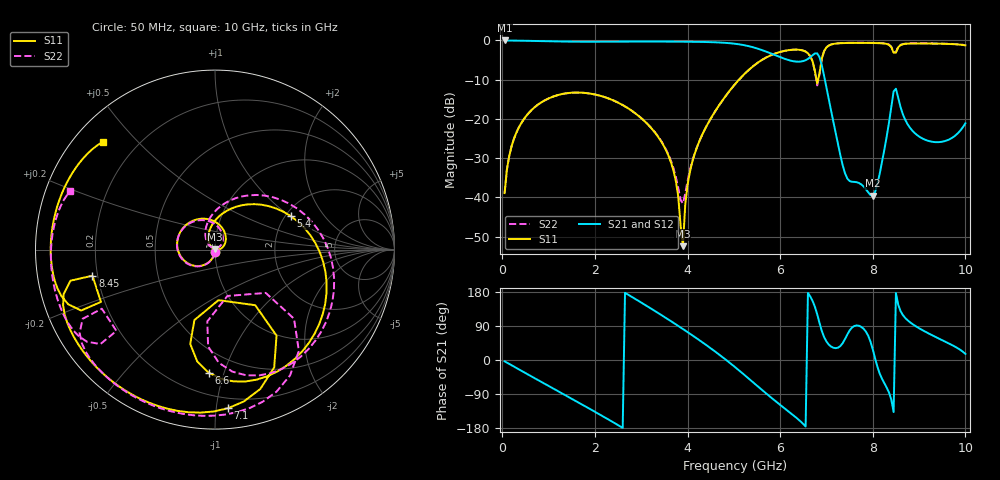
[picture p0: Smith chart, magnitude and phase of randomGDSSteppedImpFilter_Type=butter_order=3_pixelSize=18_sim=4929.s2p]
! freq	dB(S11)	phase(S11)	dB(S12)	phase(S12)
!  dB(S21)	phase(S21)	dB(S22)	phase(S22)
!S-par simulation data
#  GHz  S  DB  R 50
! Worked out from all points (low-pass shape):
!   200 points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, 50 MHz to 10 GHz, reference 50 ohm
!   highest |S21| = 0.00 dB at 50 MHz (marker M1); lowest = -39.6 dB at 8 GHz (marker M2)
!   |S21| within 3 dB of the highest: start of sweep to 5.732 GHz
!   lowest |S11| = -52.4 dB at 3.9 GHz (marker M3), VSWR 1.00, Z = 49.9 + j0.227 ohm
!   |S11| at or under -10 dB: start of sweep to 5.111 GHz; 6.784734 GHz to 6.818649 GHz (33.92 MHz wide, 0.499 % of centre)
!   |S22| runs from -41.5 to -0.6 dB; largest |S21 - S12| = 0
!   S11 on the Smith chart (normalised r, x): 50 MHz: 1.00, -0.02; 5.4 GHz: 2.13, +1.01; 6.6 GHz: 0.34, -0.89; 7.1 GHz: 0.13, -1.08; 8.45 GHz: 0.18, -0.10; 10 GHz: 0.08, +0.40
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0.05  -38.90 -93.3  -0.00 -3.5  -0.00 -3.5  -38.85 -93.7
0.5  -19.49 -125.9  -0.09 -34.5  -0.09 -34.5  -19.51 -125.1
1.75  -13.34 147.8  -0.33 -119.4  -0.33 -119.4  -13.34 151.9
2.6  -16.46 86.6  -0.30 -179.0  -0.30 -179.0  -16.46 95.3
3.4  -25.16 24.6  -0.28 121.3  -0.28 121.3  -25.06 43.7
3.75  -35.98 -1.3  -0.30 93.9  -0.30 93.9  -34.92 35.9
3.9  -52.42 108.4  -0.32 81.9  -0.32 81.9  -41.52 97.1
4  -36.86 148.4  -0.33 73.7  -0.33 73.7  -35.86 139.3
4.15  -29.06 138.5  -0.35 61.2  -0.35 61.2  -28.95 144.3
5.05  -10.81 58.9  -0.88 -21.2  -0.88 -21.2  -10.82 72.7
5.4  -6.72 23.9  -1.69 -57.2  -1.69 -57.2  -6.72 36.9
6  -2.93 -35.5  -4.26 -118.4  -4.26 -118.4  -2.92 -23.7
6.6  -3.27 -93.0  -4.71 176.9  -4.71 176.9  -3.26 -81.9
6.7  -5.30 -104.7  -3.76 156.0  -3.76 156.0  -5.34 -94.1
6.85  -8.35 -54.1  -4.26 97.7  -4.26 97.7  -8.60 -40.5
7.1  -1.04 -85.3  -17.92 35.4  -17.92 35.4  -1.02 -72.7
7.45  -0.64 -113.2  -35.19 67.1  -35.19 67.1  -0.61 -100.3
8  -0.65 -143.0  -39.56 28.0  -39.56 28.0  -0.61 -129.0
8.35  -1.12 -163.6  -20.96 -85.7  -20.96 -85.7  -1.05 -148.4
8.45  -3.12 -168.0  -12.98 -137.3  -12.98 -137.3  -2.96 -152.4
9.1  -0.77 174.7  -25.14 76.9  -25.14 76.9  -0.73 -167.8
10  -1.25 136.0  -21.11 16.1  -21.11 16.1  -1.21 157.9
